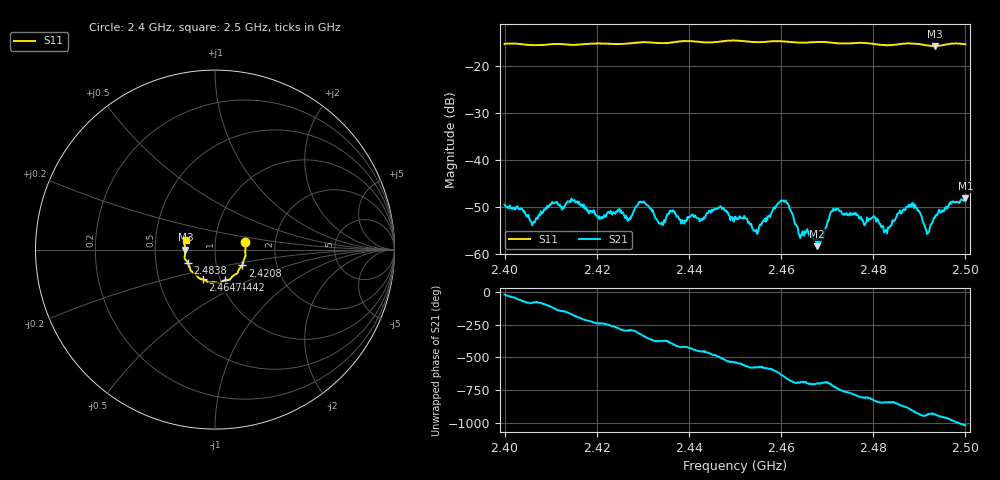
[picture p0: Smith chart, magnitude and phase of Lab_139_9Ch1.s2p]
# Hz S RI R 50
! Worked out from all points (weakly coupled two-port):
!   601 points, 2.4 GHz to 2.5 GHz, reference 50 ohm
!   highest |S21| = -48.16 dB at 2.5 GHz (marker M1); lowest = -58.4 dB at 2.4678 GHz (marker M2)
!   lowest |S11| = -15.6 dB at 2.4933 GHz (marker M3), VSWR 1.40, Z = 35.8 + j0.0147 ohm
!   |S11| at or under -10 dB: start of sweep to end of sweep
!   S12 and S22 are empty: the file has one direction only
!   S11 on the Smith chart (normalised r, x): 2.4 GHz: 1.40, +0.12; 2.4208 GHz: 1.33, -0.24; 2.4442 GHz: 1.05, -0.37; 2.4647 GHz: 0.83, -0.29; 2.4838 GHz: 0.73, -0.11; 2.5 GHz: 0.71, +0.08
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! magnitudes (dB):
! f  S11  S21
! 2.4 GHz  -15.2  -49.5
! 2.4062 GHz  -15.5  -53.3
! 2.4108 GHz  -15.2  -49.2
! 2.4167 GHz  -15.3  -49.4
! 2.4208 GHz  -15.1  -52.3
! 2.4272 GHz  -15.1  -52.3
! 2.4298 GHz  -14.8  -49.0
! 2.4333 GHz  -15.0  -53.1
! 2.4442 GHz  -14.9  -51.3
! 2.45 GHz  -14.5  -52.0
! 2.4547 GHz  -14.8  -54.8
! 2.4605 GHz  -14.7  -48.7
! 2.4647 GHz  -14.9  -55.2
! 2.4667 GHz  -14.8  -56.5
! 2.4678 GHz  -14.8  -58.4
! 2.4718 GHz  -15.0  -50.5
! 2.4833 GHz  -15.5  -54.4
! 2.4838 GHz  -15.5  -53.9
! 2.4882 GHz  -15.1  -49.4
! 2.4917 GHz  -15.5  -55.8
! 2.4933 GHz  -15.6  -52.4
! 2.5 GHz  -15.3  -48.2
